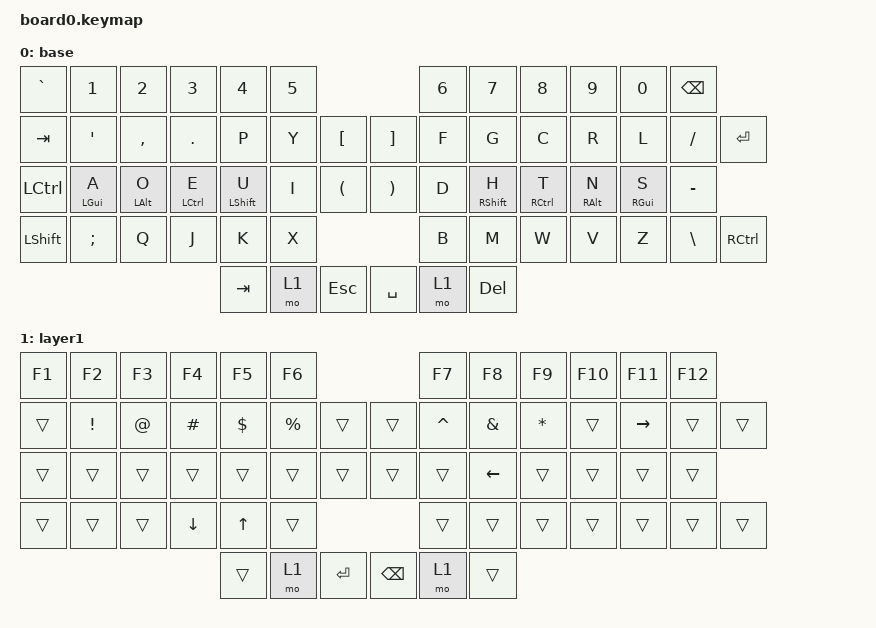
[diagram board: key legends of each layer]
/*
 * Copyright (c) 2020 The ZMK Contributors
 *
 * SPDX-License-Identifier: MIT
 */

#include <behaviors.dtsi>
#include <dt-bindings/zmk/keys.h>
#include <dt-bindings/zmk/bt.h>
#include <dt-bindings/zmk/behaviors.h>

/ {
		behaviors {
			hm: home_row_mod {
				compatible = "zmk,behavior-hold-tap";
				#binding-cells = <2>;
				flavor = "balanced";
				require-prior-idle-ms = <150>;
				tapping-term-ms = <280>;
				quick-tap-ms = <175>;
				bindings = <&kp>, <&kp>;
				hold-trigger-on-release;
			};

        keymap {
                compatible = "zmk,keymap";

                default_layer {
					display-name="base";
// -----------------------------------------------------------------------------------------
// |  TAB |  Q  |  W  |  E  |  R  |  T  |   |  Y  |  U   |  I  |  O  |  P  | BSPC |
// | CTRL |  A  |  S  |  D  |  F  |  G  |   |  H  |  J   |  K  |  L  |  ;  |  '   |
// | SHFT |  Z  |  X  |  C  |  V  |  B  |   |  N  |  M   |  ,  |  .  |  /  | ESC  |
//                    | GUI | LWR | SPC |   | ENT | RSE  | ALT |
                        bindings = <
   &kp GRAVE  &kp N1        &kp N2         &kp N3         &kp N4         &kp N5                          &kp N6  &kp N7       &kp N8       &kp N9      &kp N0      &kp BSPC
   &kp TAB    &kp SQT       &kp COMMA      &kp DOT        &kp P          &kp Y  &kp LBKT      &kp RBKT   &kp F   &kp G        &kp C        &kp R       &kp L       &kp FSLH  &kp RET
   &kp LCTRL  &hm LGUI A    &hm LALT O     &hm LCTRL E    &hm LSHFT U    &kp I  &kp LPAR      &kp RPAR   &kp D   &hm RSHFT H  &hm RCTRL T  &hm RALT N  &hm RGUI S  &kp MINUS
   &kp LSHFT  &kp SEMI      &kp Q          &kp J          &kp K          &kp X                           &kp B   &kp M        &kp W        &kp V       &kp Z       &kp BSLH  &kp RCTRL
                                                          &kp TAB        &mo 1  &kp ESC       &kp SPACE  &mo 1   &kp DEL
                        >;
                };

                lower_layer {
					display-name="layer1";
// -----------------------------------------------------------------------------------------
// |  TAB |  1  |  2  |  3  |  4  |  5  |   |  6  |  7  |  8  |  9  |  0  | BSPC |
// | BTCLR| BT1 | BT2 | BT3 | BT4 | BT5 |   | LFT | DWN |  UP | RGT |     |      |
// | SHFT |     |     |     |     |     |   |     |     |     |     |     |      |
//                    | GUI |     | SPC |   | ENT |     | ALT |
                        bindings = <
   &kp F1    &kp F2        &kp F3         &kp F4         &kp F5         &kp F6                             &kp F7     &kp F8     &kp F9       &kp F10     &kp F11     &kp F12
   &trans    &kp EXCL      &kp AT         &kp HASH       &kp DLLR       &kp PRCNT  &trans        &trans    &kp CARET  &kp AMPS   &kp ASTRK    &trans      &kp RIGHT   &trans    &trans
   &trans    &trans        &trans         &trans         &trans         &trans     &trans        &trans    &trans     &kp LEFT   &trans       &trans      &trans      &trans
   &trans    &trans        &trans         &kp DOWN       &kp UP         &trans                             &trans     &trans     &trans       &trans      &trans      &trans    &trans
                                                         &trans         &mo 1      &kp RET       &kp BSPC  &mo 1      &trans   
                        >;
                };
        };
};
